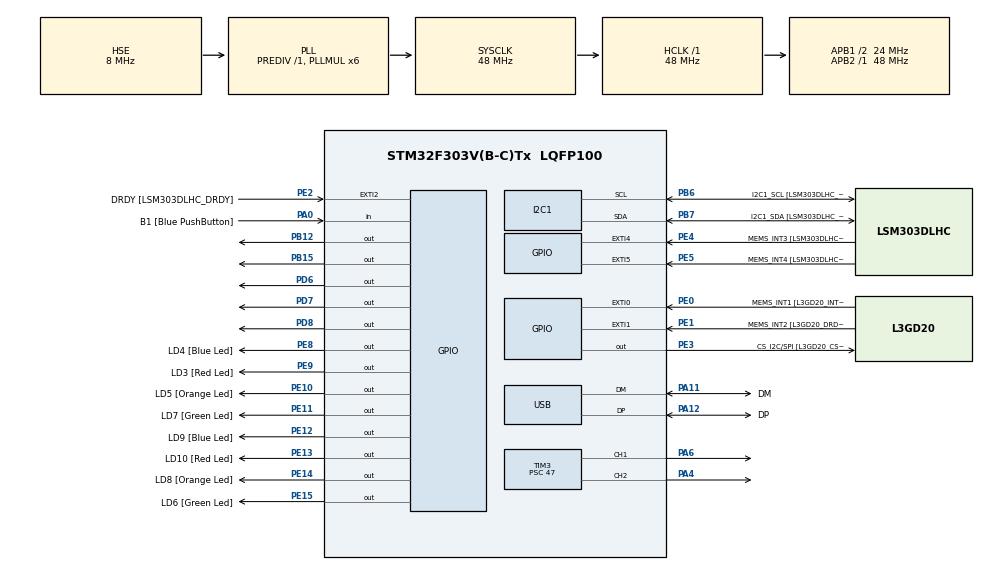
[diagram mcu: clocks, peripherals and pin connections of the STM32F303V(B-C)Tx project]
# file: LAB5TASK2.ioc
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I2C1.Timing=0x00201D2B
I2C1.Timing-I2C=0x2000090E
Mcu.Family=STM32F3
Mcu.Name=STM32F303V(B-C)Tx
Mcu.Package=LQFP100
NVIC.PriorityGroup=NVIC_PRIORITYGROUP_0
PA0.GPIO_Label=B1 [Blue PushButton]
PA0.Signal=GPIO_Input
PA11.GPIO_Label=DM
PA11.Mode=Device
PA11.Signal=USB_DM
PA12.GPIO_Label=DP
PA12.Mode=Device
PA12.Signal=USB_DP
PA13.GPIO_Label=SWDIO
PA13.Mode=Serial_Wire
PA13.Signal=SYS_JTMS-SWDIO
PA14.GPIO_Label=SWCLK
PA14.Mode=Serial_Wire
PA14.Signal=SYS_JTCK-SWCLK
PA4.Signal=S_TIM3_CH2
PA5.GPIO_Label=SPI1_SCK [L3GD20_SCL/SPC]
PA5.Signal=SPI1_SCK
PA6.Signal=S_TIM3_CH1
PA7.GPIO_Label=SPI1_MISO [L3GD20_SDA/SDI/SDO]
PA7.Signal=SPI1_MOSI
PB12.Signal=GPIO_Output
PB15.Signal=GPIO_Output
PB3.GPIO_Label=SWO
PB3.Signal=SYS_JTDO-TRACESWO
PB6.GPIO_Label=I2C1_SCL [LSM303DLHC_SCL]
PB6.GPIO_Pu=GPIO_PULLUP
PB6.Mode=I2C
PB6.Signal=I2C1_SCL
PB7.GPIO_Label=I2C1_SDA [LSM303DLHC_SDA]
PB7.GPIO_Pu=GPIO_PULLUP
PB7.Mode=I2C
PB7.Signal=I2C1_SDA
PC14-OSC32_IN.GPIO_Label=OSC32_IN
PC14-OSC32_IN.Signal=RCC_OSC32_IN
PC15-OSC32_OUT.GPIO_Label=OSC32_OUT
PC15-OSC32_OUT.Signal=RCC_OSC32_OUT
PD6.Signal=GPIO_Output
PD7.Signal=GPIO_Output
PD8.Signal=GPIO_Output
PE0.GPIO_Label=MEMS_INT1 [L3GD20_INT1]
PE0.GPIO_ModeDefaultEXTI=GPIO_MODE_EVT_RISING
PE0.Signal=GPXTI0
PE1.GPIO_Label=MEMS_INT2 [L3GD20_DRDY/INT2]
PE1.GPIO_ModeDefaultEXTI=GPIO_MODE_EVT_RISING
PE1.Signal=GPXTI1
PE10.GPIO_Label=LD5 [Orange Led]
PE10.Signal=GPIO_Output
PE11.GPIO_Label=LD7 [Green Led]
PE11.Signal=GPIO_Output
PE12.GPIO_Label=LD9 [Blue Led]
PE12.Signal=GPIO_Output
PE13.GPIO_Label=LD10 [Red Led]
PE13.Signal=GPIO_Output
PE14.GPIO_Label=LD8 [Orange Led]
PE14.Signal=GPIO_Output
PE15.GPIO_Label=LD6 [Green Led]
PE15.Signal=GPIO_Output
PE2.GPIO_Label=DRDY [LSM303DLHC_DRDY]
PE2.GPIO_ModeDefaultEXTI=GPIO_MODE_EVT_RISING
PE2.Signal=GPXTI2
PE3.GPIO_Label=CS_I2C/SPI [L3GD20_CS_I2C/SPI]
PE3.Signal=GPIO_Output
PE4.GPIO_Label=MEMS_INT3 [LSM303DLHC_INT1]
PE4.GPIO_ModeDefaultEXTI=GPIO_MODE_EVT_RISING
PE4.Signal=GPXTI4
PE5.GPIO_Label=MEMS_INT4 [LSM303DLHC_INT2]
PE5.GPIO_ModeDefaultEXTI=GPIO_MODE_EVT_RISING
PE5.Signal=GPXTI5
PE8.GPIO_Label=LD4 [Blue Led]
PE8.Signal=GPIO_Output
PE9.GPIO_Label=LD3 [Red Led]
PE9.Signal=GPIO_Output
PF0-OSC_IN.GPIO_Label=OSC_IN
PF0-OSC_IN.Mode=HSE-External-Clock-Source
PF0-OSC_IN.Signal=RCC_OSC_IN
PF1-OSC_OUT.GPIO_Label=OSC_OUT
PF1-OSC_OUT.Signal=RCC_OSC_OUT
ProjectManager.HeapSize=0x200
ProjectManager.StackSize=0x400
ProjectManager.TargetToolchain=CMake
RCC.AHBFreq_Value=48000000
RCC.APB1CLKDivider=RCC_HCLK_DIV2
RCC.APB1Freq_Value=24000000
RCC.APB1TimFreq_Value=48000000
RCC.APB2Freq_Value=48000000
RCC.APB2TimFreq_Value=48000000
RCC.CortexFreq_Value=48000000
RCC.HCLKFreq_Value=48000000
RCC.HSE_VALUE=8000000
RCC.HSI_VALUE=8000000
RCC.LSE_VALUE=32768
RCC.PLLMUL=RCC_PLL_MUL6
RCC.SYSCLKFreq_VALUE=48000000
RCC.SYSCLKSourceVirtual=RCC_SYSCLKSOURCE_PLLCLK
RCC.USBFreq_Value=48000000
SH.S_TIM3_CH1.0=TIM3_CH1,PWM Generation1 CH1
SH.S_TIM3_CH2.0=TIM3_CH2,PWM Generation2 CH2
TIM3.Channel-PWM\ Generation1\ CH1=TIM_CHANNEL_1
TIM3.Channel-PWM\ Generation2\ CH2=TIM_CHANNEL_2
TIM3.Period=999
TIM3.Prescaler=47
board=STM32F3DISCOVERY

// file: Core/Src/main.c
/* USER CODE BEGIN Header */
/**
  ******************************************************************************
  * @file           : main.c
  * @brief          : Main program body
  ******************************************************************************
  * @attention
  *
  * Copyright (c) 2026 STMicroelectronics.
  * All rights reserved.
  *
  * This software is licensed under terms that can be found in the LICENSE file
  * in the root directory of this software component.
  * If no LICENSE file comes with this software, it is provided AS-IS.
  *
  ******************************************************************************
  */
/* USER CODE END Header */
#include "main.h"

I2C_HandleTypeDef hi2c1;

TIM_HandleTypeDef htim3;

PCD_HandleTypeDef hpcd_USB_FS;

void SystemClock_Config(void);
static void MX_GPIO_Init(void);
static void MX_I2C1_Init(void);
static void MX_TIM3_Init(void);
static void MX_USB_PCD_Init(void);

int main(void)
{

  /* MCU Configuration--------------------------------------------------------*/

  /* Reset of all peripherals, Initializes the Flash interface and the Systick. */
  HAL_Init();

  /* Configure the system clock */
  SystemClock_Config();

  /* Initialize all configured peripherals */
  MX_GPIO_Init();
  MX_I2C1_Init();
  MX_TIM3_Init();
  MX_USB_PCD_Init();

  /* Infinite loop */
  /* USER CODE BEGIN WHILE */

  HAL_TIM_PWM_Start(&htim3, TIM_CHANNEL_1);
  HAL_TIM_PWM_Start(&htim3, TIM_CHANNEL_2);
  while (1)
  {
    /* USER CODE END WHILE */

    /* USER CODE BEGIN 3 */
  //FORWARD
  //RIGHT
  HAL_GPIO_WritePin(GPIOB, GPIO_PIN_12, 0);
  HAL_GPIO_WritePin(GPIOD, GPIO_PIN_8, 1);
  //LEFT
  HAL_GPIO_WritePin(GPIOD, GPIO_PIN_6, 1);
  HAL_GPIO_WritePin(GPIOD, GPIO_PIN_7, 0);

  __HAL_TIM_SET_COMPARE(&htim3, TIM_CHANNEL_1, 500);
  __HAL_TIM_SET_COMPARE(&htim3, TIM_CHANNEL_2, 500);
  HAL_Delay(2000);

  //REVERSE
    //RIGHT
  HAL_GPIO_WritePin(GPIOB, GPIO_PIN_12, 1);
  HAL_GPIO_WritePin(GPIOD, GPIO_PIN_8, 0);
  //LEFT
  HAL_GPIO_WritePin(GPIOD, GPIO_PIN_6, 0);
  HAL_GPIO_WritePin(GPIOD, GPIO_PIN_7, 1);

  __HAL_TIM_SET_COMPARE(&htim3, TIM_CHANNEL_1, 500);
  __HAL_TIM_SET_COMPARE(&htim3, TIM_CHANNEL_2, 500);
  HAL_Delay(2000);

  // Stop
  __HAL_TIM_SET_COMPARE(&htim3, TIM_CHANNEL_1, 0);
  __HAL_TIM_SET_COMPARE(&htim3, TIM_CHANNEL_2, 0);
  HAL_Delay(2000);
  //-------------------------------------------------------------
  }
  /* USER CODE END 3 */
}

void SystemClock_Config(void)
{
  RCC_OscInitTypeDef RCC_OscInitStruct = {0};
  RCC_ClkInitTypeDef RCC_ClkInitStruct = {0};
  RCC_PeriphCLKInitTypeDef PeriphClkInit = {0};

  /** Initializes the RCC Oscillators according to the specified parameters
  * in the RCC_OscInitTypeDef structure.
  */
  RCC_OscInitStruct.OscillatorType = RCC_OSCILLATORTYPE_HSI|RCC_OSCILLATORTYPE_HSE;
  RCC_OscInitStruct.HSEState = RCC_HSE_BYPASS;
  RCC_OscInitStruct.HSEPredivValue = RCC_HSE_PREDIV_DIV1;
  RCC_OscInitStruct.HSIState = RCC_HSI_ON;
  RCC_OscInitStruct.HSICalibrationValue = RCC_HSICALIBRATION_DEFAULT;
  RCC_OscInitStruct.PLL.PLLState = RCC_PLL_ON;
  RCC_OscInitStruct.PLL.PLLSource = RCC_PLLSOURCE_HSE;
  RCC_OscInitStruct.PLL.PLLMUL = RCC_PLL_MUL6;
  if (HAL_RCC_OscConfig(&RCC_OscInitStruct) != HAL_OK)
  {
    Error_Handler();
  }

  /** Initializes the CPU, AHB and APB buses clocks
  */
  RCC_ClkInitStruct.ClockType = RCC_CLOCKTYPE_HCLK|RCC_CLOCKTYPE_SYSCLK
                              |RCC_CLOCKTYPE_PCLK1|RCC_CLOCKTYPE_PCLK2;
  RCC_ClkInitStruct.SYSCLKSource = RCC_SYSCLKSOURCE_PLLCLK;
  RCC_ClkInitStruct.AHBCLKDivider = RCC_SYSCLK_DIV1;
  RCC_ClkInitStruct.APB1CLKDivider = RCC_HCLK_DIV2;
  RCC_ClkInitStruct.APB2CLKDivider = RCC_HCLK_DIV1;

  if (HAL_RCC_ClockConfig(&RCC_ClkInitStruct, FLASH_LATENCY_1) != HAL_OK)
  {
    Error_Handler();
  }
  PeriphClkInit.PeriphClockSelection = RCC_PERIPHCLK_USB|RCC_PERIPHCLK_I2C1;
  PeriphClkInit.I2c1ClockSelection = RCC_I2C1CLKSOURCE_HSI;
  PeriphClkInit.USBClockSelection = RCC_USBCLKSOURCE_PLL;
  if (HAL_RCCEx_PeriphCLKConfig(&PeriphClkInit) != HAL_OK)
  {
    Error_Handler();
  }
}

static void MX_I2C1_Init(void)
{

  hi2c1.Instance = I2C1;
  hi2c1.Init.Timing = 0x00201D2B;
  hi2c1.Init.OwnAddress1 = 0;
  hi2c1.Init.AddressingMode = I2C_ADDRESSINGMODE_7BIT;
  hi2c1.Init.DualAddressMode = I2C_DUALADDRESS_DISABLE;
  hi2c1.Init.OwnAddress2 = 0;
  hi2c1.Init.OwnAddress2Masks = I2C_OA2_NOMASK;
  hi2c1.Init.GeneralCallMode = I2C_GENERALCALL_DISABLE;
  hi2c1.Init.NoStretchMode = I2C_NOSTRETCH_DISABLE;
  if (HAL_I2C_Init(&hi2c1) != HAL_OK)
  {
    Error_Handler();
  }

  /** Configure Analogue filter
  */
  if (HAL_I2CEx_ConfigAnalogFilter(&hi2c1, I2C_ANALOGFILTER_ENABLE) != HAL_OK)
  {
    Error_Handler();
  }

  /** Configure Digital filter
  */
  if (HAL_I2CEx_ConfigDigitalFilter(&hi2c1, 0) != HAL_OK)
  {
    Error_Handler();
  }

}

static void MX_TIM3_Init(void)
{

  TIM_MasterConfigTypeDef sMasterConfig = {0};
  TIM_OC_InitTypeDef sConfigOC = {0};

  htim3.Instance = TIM3;
  htim3.Init.Prescaler = 47;
  htim3.Init.CounterMode = TIM_COUNTERMODE_UP;
  htim3.Init.Period = 999;
  htim3.Init.ClockDivision = TIM_CLOCKDIVISION_DIV1;
  htim3.Init.AutoReloadPreload = TIM_AUTORELOAD_PRELOAD_DISABLE;
  if (HAL_TIM_PWM_Init(&htim3) != HAL_OK)
  {
    Error_Handler();
  }
  sMasterConfig.MasterOutputTrigger = TIM_TRGO_RESET;
  sMasterConfig.MasterSlaveMode = TIM_MASTERSLAVEMODE_DISABLE;
  if (HAL_TIMEx_MasterConfigSynchronization(&htim3, &sMasterConfig) != HAL_OK)
  {
    Error_Handler();
  }
  sConfigOC.OCMode = TIM_OCMODE_PWM1;
  sConfigOC.Pulse = 0;
  sConfigOC.OCPolarity = TIM_OCPOLARITY_HIGH;
  sConfigOC.OCFastMode = TIM_OCFAST_DISABLE;
  if (HAL_TIM_PWM_ConfigChannel(&htim3, &sConfigOC, TIM_CHANNEL_1) != HAL_OK)
  {
    Error_Handler();
  }
  if (HAL_TIM_PWM_ConfigChannel(&htim3, &sConfigOC, TIM_CHANNEL_2) != HAL_OK)
  {
    Error_Handler();
  }
  HAL_TIM_MspPostInit(&htim3);

}

static void MX_USB_PCD_Init(void)
{

  hpcd_USB_FS.Instance = USB;
  hpcd_USB_FS.Init.dev_endpoints = 8;
  hpcd_USB_FS.Init.speed = PCD_SPEED_FULL;
  hpcd_USB_FS.Init.phy_itface = PCD_PHY_EMBEDDED;
  hpcd_USB_FS.Init.low_power_enable = DISABLE;
  hpcd_USB_FS.Init.battery_charging_enable = DISABLE;
  if (HAL_PCD_Init(&hpcd_USB_FS) != HAL_OK)
  {
    Error_Handler();
  }

}

static void MX_GPIO_Init(void)
{
  GPIO_InitTypeDef GPIO_InitStruct = {0};

  /* GPIO Ports Clock Enable */
  __HAL_RCC_GPIOE_CLK_ENABLE();
  __HAL_RCC_GPIOC_CLK_ENABLE();
  __HAL_RCC_GPIOF_CLK_ENABLE();
  __HAL_RCC_GPIOA_CLK_ENABLE();
  __HAL_RCC_GPIOB_CLK_ENABLE();
  __HAL_RCC_GPIOD_CLK_ENABLE();

  /*Configure GPIO pin Output Level */
  HAL_GPIO_WritePin(GPIOE, CS_I2C_SPI_Pin|LD4_Pin|LD3_Pin|LD5_Pin
                          |LD7_Pin|LD9_Pin|LD10_Pin|LD8_Pin
                          |LD6_Pin, GPIO_PIN_RESET);

  /*Configure GPIO pin Output Level */
  HAL_GPIO_WritePin(GPIOB, GPIO_PIN_12|GPIO_PIN_15, GPIO_PIN_RESET);

  /*Configure GPIO pin Output Level */
  HAL_GPIO_WritePin(GPIOD, GPIO_PIN_8|GPIO_PIN_6|GPIO_PIN_7, GPIO_PIN_RESET);

  /*Configure GPIO pins : DRDY_Pin MEMS_INT3_Pin MEMS_INT4_Pin MEMS_INT1_Pin
                           MEMS_INT2_Pin */
  GPIO_InitStruct.Pin = DRDY_Pin|MEMS_INT3_Pin|MEMS_INT4_Pin|MEMS_INT1_Pin
                          |MEMS_INT2_Pin;
  GPIO_InitStruct.Mode = GPIO_MODE_EVT_RISING;
  GPIO_InitStruct.Pull = GPIO_NOPULL;
  HAL_GPIO_Init(GPIOE, &GPIO_InitStruct);

  /*Configure GPIO pins : CS_I2C_SPI_Pin LD4_Pin LD3_Pin LD5_Pin
                           LD7_Pin LD9_Pin LD10_Pin LD8_Pin
                           LD6_Pin */
  GPIO_InitStruct.Pin = CS_I2C_SPI_Pin|LD4_Pin|LD3_Pin|LD5_Pin
                          |LD7_Pin|LD9_Pin|LD10_Pin|LD8_Pin
                          |LD6_Pin;
  GPIO_InitStruct.Mode = GPIO_MODE_OUTPUT_PP;
  GPIO_InitStruct.Pull = GPIO_NOPULL;
  GPIO_InitStruct.Speed = GPIO_SPEED_FREQ_LOW;
  HAL_GPIO_Init(GPIOE, &GPIO_InitStruct);

  /*Configure GPIO pin : B1_Pin */
  GPIO_InitStruct.Pin = B1_Pin;
  GPIO_InitStruct.Mode = GPIO_MODE_INPUT;
  GPIO_InitStruct.Pull = GPIO_NOPULL;
  HAL_GPIO_Init(B1_GPIO_Port, &GPIO_InitStruct);

  /*Configure GPIO pins : SPI1_SCK_Pin SPI1_MISO_Pin */
  GPIO_InitStruct.Pin = SPI1_SCK_Pin|SPI1_MISO_Pin;
  GPIO_InitStruct.Mode = GPIO_MODE_AF_PP;
  GPIO_InitStruct.Pull = GPIO_NOPULL;
  GPIO_InitStruct.Speed = GPIO_SPEED_FREQ_HIGH;
  GPIO_InitStruct.Alternate = GPIO_AF5_SPI1;
  HAL_GPIO_Init(GPIOA, &GPIO_InitStruct);

  /*Configure GPIO pins : PB12 PB15 */
  GPIO_InitStruct.Pin = GPIO_PIN_12|GPIO_PIN_15;
  GPIO_InitStruct.Mode = GPIO_MODE_OUTPUT_PP;
  GPIO_InitStruct.Pull = GPIO_NOPULL;
  GPIO_InitStruct.Speed = GPIO_SPEED_FREQ_LOW;
  HAL_GPIO_Init(GPIOB, &GPIO_InitStruct);

  /*Configure GPIO pins : PD8 PD6 PD7 */
  GPIO_InitStruct.Pin = GPIO_PIN_8|GPIO_PIN_6|GPIO_PIN_7;
  GPIO_InitStruct.Mode = GPIO_MODE_OUTPUT_PP;
  GPIO_InitStruct.Pull = GPIO_NOPULL;
  GPIO_InitStruct.Speed = GPIO_SPEED_FREQ_LOW;
  HAL_GPIO_Init(GPIOD, &GPIO_InitStruct);

}

void Error_Handler(void)
{
  __disable_irq();
  while (1)
  {
  }
}
